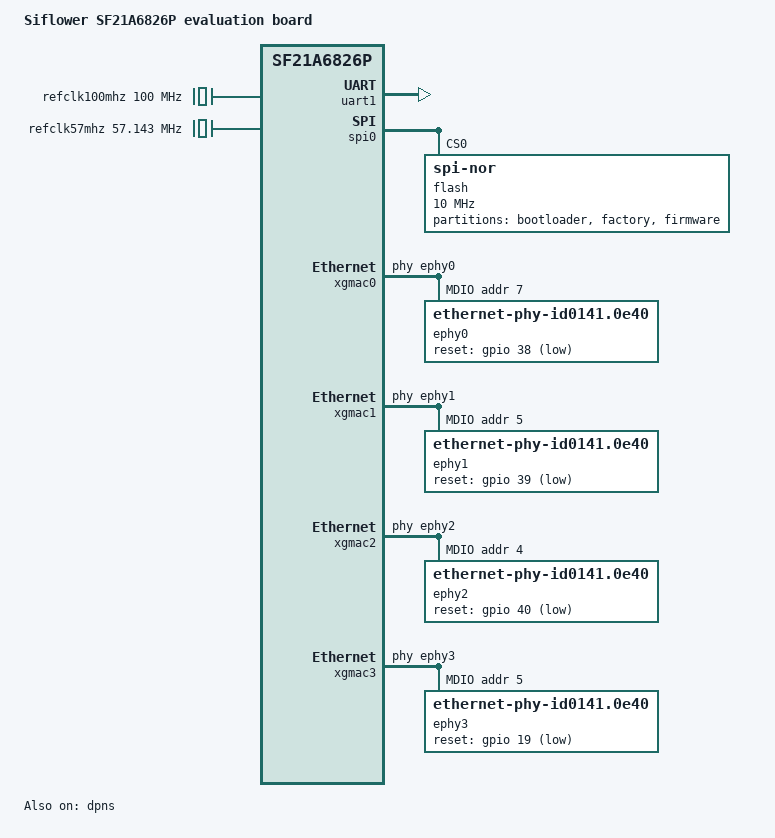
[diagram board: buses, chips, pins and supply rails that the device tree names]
// SPDX-License-Identifier: GPL-2.0-or-later
/*
 * Copyright 2024 SiFlower Corporation.
 */

/dts-v1/;
#include "sf21a6826p.dtsi"

/ {
	model = "Siflower SF21A6826P evaluation board";
	compatible = "siflower,sf21a6826p-evb", "siflower,sf21a6826p";

	chosen {
		stdout-path = &uart1;
		rootdisk = <&rootdisk>;
	};

	cpus {
		timebase-frequency = <57142857>;
	};

	refclk100mhz: clk100m {
		compatible = "fixed-clock";
		#clock-cells = <0>;
		clock-frequency = <100000000>;
		clock-output-names = "fixed-100m";
	};

	refclk57mhz: clk57m {
		compatible = "fixed-clock";
		#clock-cells = <0>;
		clock-frequency = <57142857>;
		clock-output-names = "fixed-57m";
	};
};

&uart1 {
	status = "okay";
	clocks = <&refclk100mhz>;
};

&spi0 {
	status = "okay";
	clocks = <&refclk57mhz>;

	flash@0 {
		compatible = "jedec,spi-nor";
		reg = <0>;
		spi-max-frequency = <10000000>;
		spi-tx-bus-width = <4>;
		spi-rx-bus-width = <4>;
		#address-cells = <1>;
		#size-cells = <1>;

		partitions {
			compatible = "fixed-partitions";
			#address-cells = <1>;
			#size-cells = <1>;

			partition@0 {
				label = "bootloader";
				reg = <0x0 0x90000>;
				read-only;
			};

			factory: partition@90000 {
				label = "factory";
				reg = <0x90000 0x10000>;
			};

			rootdisk: partition@a0000 {
				label = "firmware";
				reg = <0xa0000 0xfff60000>;
				compatible = "denx,fit";
			};
		};
	};
};

&xgmac0 {
	status = "okay";
	phy-handle = <&ephy0>;
	clocks = <&refclk57mhz>;

	mdio {
		#address-cells = <1>;
		#size-cells = <0>;
		suppress-preamble;
		clock-frequency = <8333333>;

		ephy0: ethernet-phy@7 {
			compatible = "ethernet-phy-id0141.0e40", "ethernet-phy-ieee802.3-c22";
			reg = <7>;
			reset-gpios = <&gpio 38 GPIO_ACTIVE_LOW>;
			reset-assert-us = <10000>;
			reset-deassert-us = <100000>;
		};
	};
};

&xgmac1 {
	status = "okay";
	phy-handle = <&ephy1>;
	clocks = <&refclk57mhz>;

	mdio {
		#address-cells = <1>;
		#size-cells = <0>;
		suppress-preamble;
		clock-frequency = <8333333>;

		ephy1: ethernet-phy@5 {
			compatible = "ethernet-phy-id0141.0e40", "ethernet-phy-ieee802.3-c22";
			reg = <5>;
			reset-gpios = <&gpio 39 GPIO_ACTIVE_LOW>;
			reset-assert-us = <10000>;
			reset-deassert-us = <100000>;
		};
	};
};

&xgmac2 {
	status = "okay";
	phy-handle = <&ephy2>;
	clocks = <&refclk57mhz>;

	mdio {
		#address-cells = <1>;
		#size-cells = <0>;
		suppress-preamble;
		clock-frequency = <8333333>;

		ephy2: ethernet-phy@4 {
			compatible = "ethernet-phy-id0141.0e40", "ethernet-phy-ieee802.3-c22";
			reg = <4>;
			reset-gpios = <&gpio 40 GPIO_ACTIVE_LOW>;
			reset-assert-us = <10000>;
			reset-deassert-us = <100000>;
		};
	};
};

&xgmac3 {
	status = "okay";
	phy-handle = <&ephy3>;
	clocks = <&refclk57mhz>;

	mdio {
		#address-cells = <1>;
		#size-cells = <0>;
		suppress-preamble;
		clock-frequency = <8333333>;

		ephy3: ethernet-phy@5 {
			compatible = "ethernet-phy-id0141.0e40", "ethernet-phy-ieee802.3-c22";
			reg = <5>;
			reset-gpios = <&gpio 19 GPIO_ACTIVE_LOW>;
			reset-assert-us = <10000>;
			reset-deassert-us = <100000>;
		};
	};
};

&dpns {
	status ="okay";
	clocks = <&refclk57mhz>;
};

&edma {
	status = "okay";
	clocks = <&refclk57mhz>, <&refclk57mhz>, <&refclk57mhz>;
};
